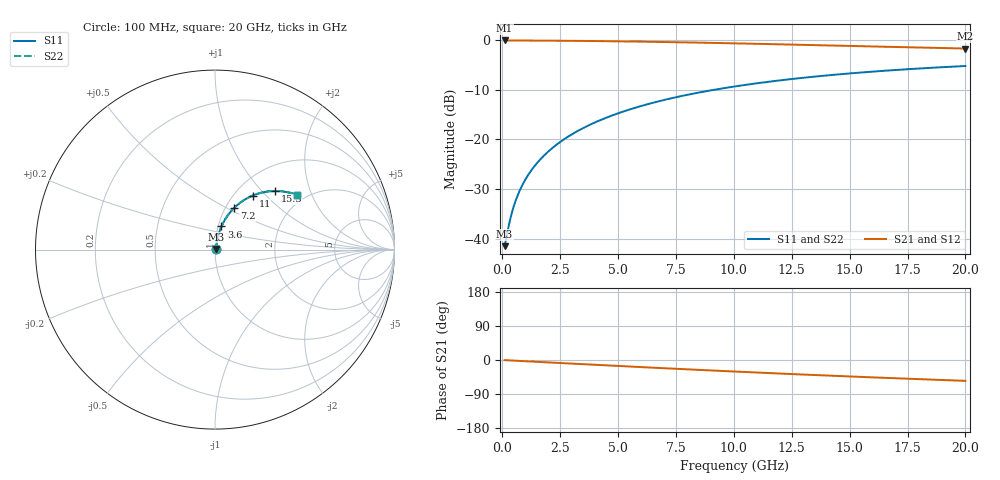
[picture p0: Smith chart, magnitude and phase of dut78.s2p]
! Touchstone file exported from HFSS 2026.1.0
!  File:  C:/ffzhzh/LocalFiles/Ansys_Project_Files/temp_train_TMRDL_78_1782881308_46784.aedt
!  Generated:  12:50:03 PM Jul  1, 2026
!  Design:  TMRDL
!  Project:  temp_train_TMRDL_78_1782881308_46784
! Variables:
!  h_bsmrdl = 2um
!  h_ox = 20um
!  h_rdl = 5um
!  h_sub = 80um
!  h_tmrdl = 2.11um
!  h_tsv = 80um
!  h_via = 3um
!  l_bsmrdl = 300um
!  l_sub = 1187.63um
!  l_tmrdl = 787.63um
!  m_sub = 200um
!  pitch = 53.37um
!  r_tsv = 6um
!  s_tmrdl = 10um
!  w_bsmrdl = 18um
!  w_sub = 500um
!  w_tmrdl = 18.3um
!  x_tsv_center1 = 796.78um
!  x_tsv_center2 = 1114.78um
!  x_tsv_center3 = 1920.71um
!  x_tsv_center4 = 2238.71um
!  x_tsv_center5 = 3044.64um
!  x_tsv_center6 = 3362.64um
# GHz S MA R 50.000000
! Terminal data exported
! Port[1] = TM_RDL1_1_T1
! Port[2] = TM_RDL1_1_T2
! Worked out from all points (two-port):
!   200 points, 100 MHz to 20 GHz, reference 50 ohm
!   highest |S21| = -0.06 dB at 100 MHz (marker M1); lowest = -1.7 dB at 20 GHz (marker M2)
!   |S21| within 3 dB of the highest: start of sweep to end of sweep
!   lowest |S11| = -41.5 dB at 100 MHz (marker M3), VSWR 1.02, Z = 50.7 + j0.406 ohm
!   |S11| at or under -10 dB: start of sweep to 9.159 GHz
!   |S22| runs from -41.5 to -5.2 dB; largest |S21 - S12| = 2.4e-14
!   S11 on the Smith chart (normalised r, x): 100 MHz: 1.01, +0.01; 3.6 GHz: 1.04, +0.27; 7.2 GHz: 1.10, +0.55; 11 GHz: 1.21, +0.84; 15.3 GHz: 1.43, +1.19; 20 GHz: 1.81, +1.57
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0.1  0.008387 28.5  0.9926 -0.3  0.9926 -0.3  0.008387 28.5
! Gamma 0 0 0 0
! Port Impedance 50 0 50 0
0.3  0.01422 56.7  0.9923 -1.0  0.9923 -1.0  0.01422 56.7
0.4  0.01773 62.6  0.9921 -1.3  0.9921 -1.3  0.01773 62.6
0.6  0.02495 68.9  0.9916 -2.0  0.9916 -2.0  0.02495 68.9
0.7  0.02859 70.8  0.9913 -2.3  0.9913 -2.3  0.02859 70.8
0.9  0.03586 73.2  0.9908 -2.9  0.9908 -2.9  0.03586 73.2
1.2  0.04678 75.1  0.99 -3.9  0.99 -3.9  0.04678 75.1
1.7  0.06499 76.4  0.9887 -5.4  0.9887 -5.4  0.06499 76.4
2.2  0.08321 76.5  0.9871 -7.0  0.9871 -7.0  0.08321 76.5
2.8  0.105 75.8  0.9849 -8.9  0.9849 -8.9  0.105 75.9
3.5  0.1302 74.6  0.9817 -11.1  0.9817 -11.1  0.1302 74.6
3.6  0.1338 74.4  0.9812 -11.4  0.9812 -11.4  0.1338 74.4
5  0.183 71.1  0.973 -15.7  0.973 -15.7  0.183 71.1
6.8  0.2434 66.3  0.9594 -21.2  0.9594 -21.2  0.2434 66.4
7.2  0.2563 65.2  0.9559 -22.3  0.9559 -22.3  0.2562 65.3
8.6  0.2997 61.4  0.943 -26.4  0.943 -26.4  0.2996 61.5
10.1  0.3431 57.4  0.9278 -30.6  0.9278 -30.6  0.3431 57.5
11  0.3676 55.0  0.9183 -33.1  0.9183 -33.1  0.3676 55.1
13.4  0.4269 48.9  0.892 -39.4  0.892 -39.4  0.4269 49.0
15.3  0.468 44.2  0.8711 -44.2  0.8711 -44.2  0.4679 44.4
16.7  0.495 40.9  0.8561 -47.5  0.8561 -47.5  0.495 41.1
20  0.5487 33.6  0.8229 -55.0  0.8229 -55.0  0.5487 33.8
